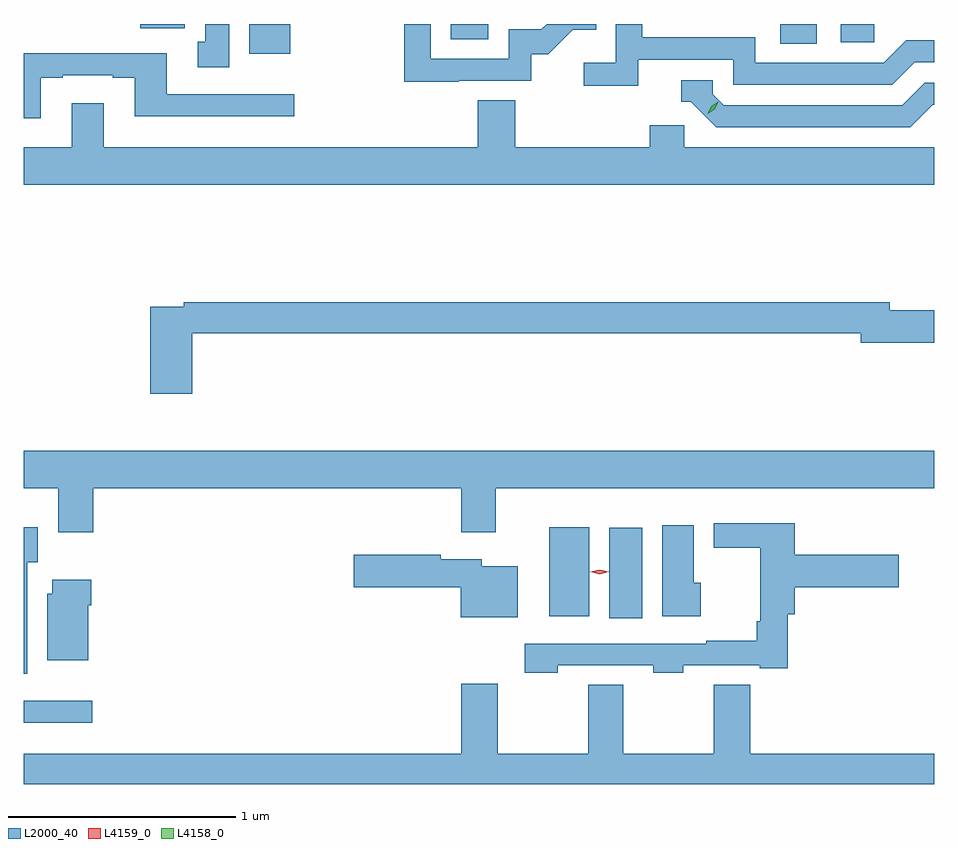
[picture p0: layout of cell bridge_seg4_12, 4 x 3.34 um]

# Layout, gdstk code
import gdstk
lib = gdstk.Library(unit=1e-6, precision=1e-09)
def R(c, l, rs):  # rectangles x0, y0, x1, y1
    for r in rs: c.add(gdstk.rectangle(r[:2], r[2:], *l))
def P(c, l, *ps):  # polygons
    for p in ps: c.add(gdstk.Polygon(p, *l))
L2000_40 = (2000, 40)
L4158_0 = (4158, 0)
L4159_0 = (4159, 0)

bridge_seg4_12 = lib.new_cell('bridge_seg4_12')
R(bridge_seg4_12, L2000_40, [(1128.033,749.168,1128.334,749.265), (1130.606,749.628,1130.749,750.025), (1130.342,749.636,1130.518,750.028), (1129.025,752.108,1129.204,752.238), (1131.357,752.152,1131.516,752.238), (1131.621,752.157,1131.768,752.238), (1129.91,752.172,1130.074,752.238), (1128.545,752.22,1128.741,752.238)])
P(bridge_seg4_12, L2000_40, [(1130.732,752.082),(1131.15,752.082),(1131.15,751.971),(1131.847,751.971),(1131.946,752.07),(1132.033,752.07),(1132.033,752.166),(1131.909,752.166),(1131.81,752.067),(1131.246,752.067),(1131.246,752.179),(1130.75,752.179),(1130.75,752.238),(1130.634,752.238),(1130.634,752.068),(1130.493,752.068),(1130.493,751.966),(1130.732,751.966)],
  [(1128.937,752.238),(1128.83,752.238),(1128.83,752.161),(1128.797,752.161),(1128.797,752.049),(1128.937,752.049)],
  [(1129.943,751.989),(1130.262,751.989),(1130.262,752.106),(1130.338,752.106),(1130.445,752.213),(1130.549,752.213),(1130.549,752.238),(1130.331,752.238),(1130.307,752.214),(1130.163,752.214),(1130.163,752.085),(1129.821,752.085),(1129.821,752.238),(1129.705,752.238),(1129.705,751.984),(1129.943,751.984)],
  [(1128.109,752.001),(1128.205,752.001),(1128.205,752.013),(1128.425,752.013),(1128.425,752.001),(1128.521,752.001),(1128.521,751.832),(1129.222,751.832),(1129.222,751.929),(1128.661,751.929),(1128.661,752.11),(1128.033,752.11),(1128.033,751.824),(1128.109,751.824)],
  [(1132.027,751.884),(1132.033,751.884),(1132.033,751.98),(1131.99,751.98),(1131.891,751.881),(1131.108,751.881),(1131.06,751.929),(1131.06,751.992),(1130.921,751.992),(1130.921,751.896),(1130.964,751.896),(1131.075,751.785),(1131.928,751.785)],
  [(1132.033,751.696),(1130.934,751.696),(1130.934,751.794),(1130.783,751.794),(1130.783,751.696),(1130.192,751.696),(1130.192,751.904),(1130.027,751.904),(1130.027,751.696),(1128.385,751.696),(1128.385,751.891),(1128.245,751.891),(1128.245,751.696),(1128.033,751.696),(1128.033,751.532),(1132.033,751.532)],
  [(1128.773,750.88),(1131.71,750.88),(1131.71,750.838),(1132.033,750.838),(1132.033,750.98),(1131.838,750.98),(1131.838,751.016),(1128.736,751.016),(1128.736,750.996),(1128.59,750.996),(1128.59,750.615),(1128.773,750.615)],
  [(1128.338,750.2),(1129.955,750.2),(1129.955,750.006),(1130.107,750.006),(1130.107,750.2),(1132.033,750.2),(1132.033,750.364),(1128.033,750.364),(1128.033,750.2),(1128.185,750.2),(1128.185,750.006),(1128.338,750.006)],
  [(1130.379,749.421),(1130.799,749.421),(1130.799,749.389),(1130.931,749.389),(1130.931,749.421),(1131.266,749.421),(1131.266,749.409),(1131.389,749.409),(1131.389,749.645),(1131.419,749.645),(1131.419,749.765),(1131.877,749.765),(1131.877,749.907),(1131.419,749.907),(1131.419,750.046),(1131.063,750.046),(1131.063,749.937),(1131.268,749.937),(1131.268,749.614),(1131.253,749.614),(1131.253,749.53),(1131.031,749.53),(1131.031,749.517),(1130.235,749.517),(1130.235,749.389),(1130.379,749.389)],
  [(1131.007,749.784),(1130.977,749.784),(1130.977,750.037),(1130.837,750.037),(1130.837,749.636),(1131.007,749.636)],
  [(1128.049,749.874),(1128.094,749.874),(1128.094,750.028),(1128.033,750.028),(1128.033,749.385),(1128.049,749.385)],
  [(1130.203,749.857),(1130.046,749.857),(1130.046,749.887),(1129.866,749.887),(1129.866,749.907),(1129.482,749.907),(1129.482,749.765),(1129.952,749.765),(1129.952,749.633),(1130.203,749.633)],
  [(1128.316,749.684),(1128.329,749.684),(1128.329,749.797),(1128.158,749.797),(1128.158,749.736),(1128.137,749.736),(1128.137,749.444),(1128.316,749.444)],
  [(1132.033,749.032),(1131.224,749.032),(1131.224,749.336),(1131.064,749.336),(1131.064,749.032),(1130.666,749.032),(1130.666,749.336),(1130.512,749.336),(1130.512,749.032),(1130.115,749.032),(1130.115,749.341),(1129.955,749.341),(1129.955,749.032),(1128.033,749.032),(1128.033,748.9),(1132.033,748.9)])
P(bridge_seg4_12, L4158_0, [(1131.037,751.843),(1131.037,751.843),(1131.053,751.876),(1131.083,751.896),(1131.083,751.896),(1131.083,751.895),(1131.068,751.863),(1131.038,751.843)])
P(bridge_seg4_12, L4159_0, [(1130.563,749.822),(1130.522,749.832),(1130.522,749.832),(1130.522,749.833),(1130.563,749.842),(1130.603,749.832),(1130.603,749.832),(1130.603,749.832)])

lib.write_gds('bridge_seg4_12.gds')
